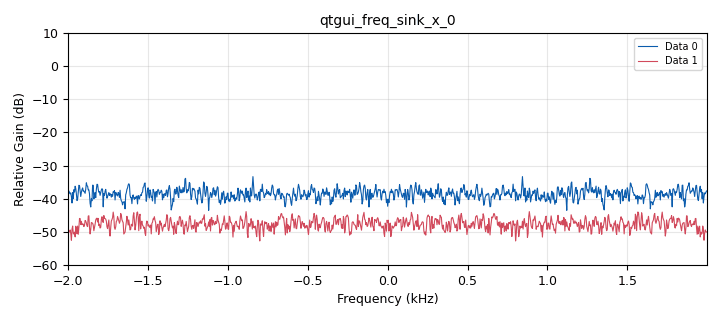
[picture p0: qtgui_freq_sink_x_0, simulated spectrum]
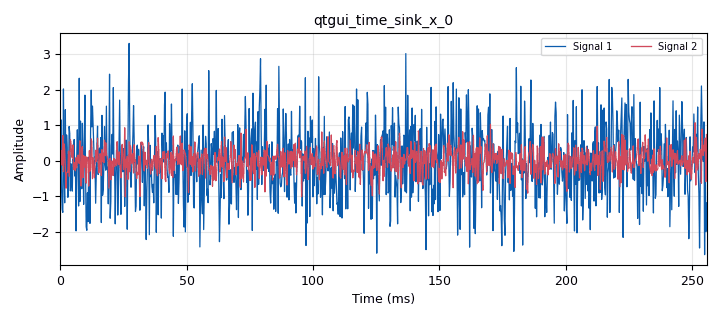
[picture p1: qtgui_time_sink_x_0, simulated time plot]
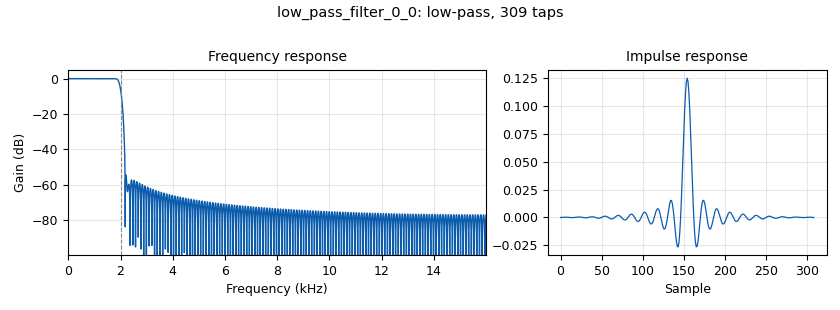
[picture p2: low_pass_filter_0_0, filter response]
options:
  parameters:
    generate_options: qt_gui
    id: ex1_07
    output_language: python
    title: Figure 1.13 Illustration of analog anti-aliasing ﬁlter
  states: {}

blocks:
- name: N1
  id: variable
  parameters:
    value: '8'
  states: {}
- name: N2
  id: variable
  parameters:
    value: '2'
  states: {}
- name: samp_rate
  id: variable
  parameters:
    value: '32000'
  states: {}
- name: analog_noise_source_x_0
  id: analog_noise_source_x
  parameters:
    amp: '1'
    noise_type: analog.GR_GAUSSIAN
    seed: '0'
    type: float
  states: {}
- name: blocks_keep_one_in_n_0
  id: blocks_keep_one_in_n
  parameters:
    n: N1
    type: float
  states: {}
- name: blocks_throttle2_0
  id: blocks_throttle2
  parameters:
    samples_per_second: samp_rate
    type: float
  states: {}
- name: low_pass_filter_0_0
  id: low_pass_filter
  parameters:
    cutoff_freq: samp_rate/2/N1
    decim: N1
    gain: '1'
    samp_rate: samp_rate
    type: fir_filter_fff
    width: samp_rate/128
    win: window.WIN_HAMMING
  states: {}
- name: qtgui_freq_sink_x_0
  id: qtgui_freq_sink_x
  parameters:
    average: '0.1'
    bw: samp_rate/N1
    fc: '0'
    fftsize: '1024'
    nconnections: '2'
    type: float
    ymin: '-60'
  states: {}
- name: qtgui_time_sink_x_0
  id: qtgui_time_sink_x
  parameters:
    autoscale: 'True'
    nconnections: '2'
    size: '1024'
    srate: samp_rate/N1
    type: float
    ymax: '2'
    ymin: '-2'
  states: {}

connections:
- [analog_noise_source_x_0, '0', blocks_keep_one_in_n_0, '0']
- [analog_noise_source_x_0, '0', low_pass_filter_0_0, '0']
- [blocks_keep_one_in_n_0, '0', blocks_throttle2_0, '0']
- [blocks_throttle2_0, '0', qtgui_freq_sink_x_0, '0']
- [blocks_throttle2_0, '0', qtgui_time_sink_x_0, '0']
- [low_pass_filter_0_0, '0', qtgui_freq_sink_x_0, '1']
- [low_pass_filter_0_0, '0', qtgui_time_sink_x_0, '1']

metadata:
  file_format: 1
  grc_version: 3.10.9.2
